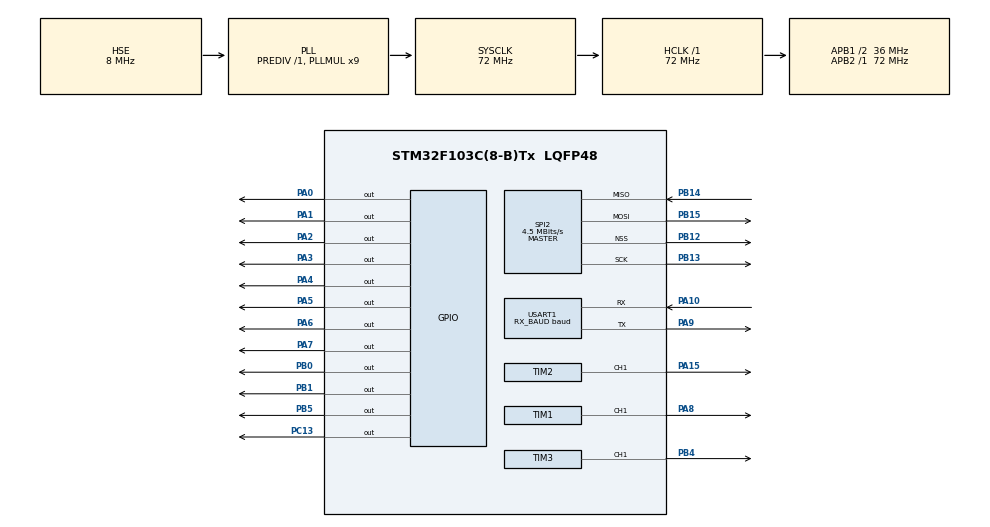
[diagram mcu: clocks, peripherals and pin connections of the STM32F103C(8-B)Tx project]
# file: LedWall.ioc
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Dma.Request0=USART1_RX
Dma.Request1=USART1_TX
Dma.Request2=TIM1_CH1
Dma.TIM1_CH1.2.Direction=DMA_MEMORY_TO_PERIPH
Dma.TIM1_CH1.2.Instance=DMA1_Channel2
Dma.TIM1_CH1.2.MemDataAlignment=DMA_MDATAALIGN_BYTE
Dma.TIM1_CH1.2.MemInc=DMA_MINC_ENABLE
Dma.TIM1_CH1.2.Mode=DMA_NORMAL
Dma.TIM1_CH1.2.PeriphDataAlignment=DMA_PDATAALIGN_BYTE
Dma.TIM1_CH1.2.PeriphInc=DMA_PINC_DISABLE
Dma.TIM1_CH1.2.Priority=DMA_PRIORITY_VERY_HIGH
Dma.USART1_RX.0.Direction=DMA_PERIPH_TO_MEMORY
Dma.USART1_RX.0.Instance=DMA1_Channel5
Dma.USART1_RX.0.MemDataAlignment=DMA_MDATAALIGN_BYTE
Dma.USART1_RX.0.MemInc=DMA_MINC_ENABLE
Dma.USART1_RX.0.Mode=DMA_CIRCULAR
Dma.USART1_RX.0.PeriphDataAlignment=DMA_PDATAALIGN_BYTE
Dma.USART1_RX.0.PeriphInc=DMA_PINC_DISABLE
Dma.USART1_RX.0.Priority=DMA_PRIORITY_LOW
Dma.USART1_TX.1.Direction=DMA_MEMORY_TO_PERIPH
Dma.USART1_TX.1.Instance=DMA1_Channel4
Dma.USART1_TX.1.MemDataAlignment=DMA_MDATAALIGN_BYTE
Dma.USART1_TX.1.MemInc=DMA_MINC_ENABLE
Dma.USART1_TX.1.Mode=DMA_NORMAL
Dma.USART1_TX.1.PeriphDataAlignment=DMA_PDATAALIGN_BYTE
Dma.USART1_TX.1.PeriphInc=DMA_PINC_DISABLE
Dma.USART1_TX.1.Priority=DMA_PRIORITY_LOW
Mcu.Family=STM32F1
Mcu.Name=STM32F103C(8-B)Tx
Mcu.Package=LQFP48
NVIC.DMA1_Channel2_IRQn=true\:0\:0\:false\:false\:true\:false
NVIC.DMA1_Channel4_IRQn=true\:0\:0\:false\:false\:true\:false
NVIC.DMA1_Channel5_IRQn=true\:0\:0\:false\:false\:true\:false
NVIC.PriorityGroup=NVIC_PRIORITYGROUP_4
NVIC.TIM1_UP_IRQn=true\:1\:0\:true\:false\:true\:true
NVIC.TIM2_IRQn=true\:0\:0\:false\:false\:true\:true
PA0-WKUP.GPIO_PuPd=GPIO_PULLDOWN
PA0-WKUP.GPIO_Speed=GPIO_SPEED_FREQ_HIGH
PA0-WKUP.Signal=GPIO_Output
PA1.GPIO_PuPd=GPIO_PULLDOWN
PA1.GPIO_Speed=GPIO_SPEED_FREQ_HIGH
PA1.Signal=GPIO_Output
PA10.Mode=Asynchronous
PA10.Signal=USART1_RX
PA13.Mode=Serial_Wire
PA13.Signal=SYS_JTMS-SWDIO
PA14.Mode=Serial_Wire
PA14.Signal=SYS_JTCK-SWCLK
PA15.GPIO_Speed=GPIO_SPEED_FREQ_HIGH
PA15.Signal=S_TIM2_CH1_ETR
PA2.GPIO_PuPd=GPIO_PULLDOWN
PA2.GPIO_Speed=GPIO_SPEED_FREQ_HIGH
PA2.Signal=GPIO_Output
PA3.GPIO_PuPd=GPIO_PULLDOWN
PA3.GPIO_Speed=GPIO_SPEED_FREQ_HIGH
PA3.Signal=GPIO_Output
PA4.GPIO_PuPd=GPIO_PULLDOWN
PA4.GPIO_Speed=GPIO_SPEED_FREQ_HIGH
PA4.Signal=GPIO_Output
PA5.GPIO_PuPd=GPIO_PULLDOWN
PA5.GPIO_Speed=GPIO_SPEED_FREQ_HIGH
PA5.Signal=GPIO_Output
PA6.GPIO_PuPd=GPIO_PULLDOWN
PA6.GPIO_Speed=GPIO_SPEED_FREQ_HIGH
PA6.Signal=GPIO_Output
PA7.GPIO_PuPd=GPIO_PULLDOWN
PA7.GPIO_Speed=GPIO_SPEED_FREQ_HIGH
PA7.Signal=GPIO_Output
PA8.GPIO_Speed=GPIO_SPEED_FREQ_HIGH
PA8.Signal=S_TIM1_CH1
PA9.Mode=Asynchronous
PA9.Signal=USART1_TX
PB0.Signal=GPIO_Output
PB1.Signal=GPIO_Output
PB12.Mode=NSS_Signal_Hard_Output
PB12.Signal=SPI2_NSS
PB13.Mode=Full_Duplex_Master
PB13.Signal=SPI2_SCK
PB14.Mode=Full_Duplex_Master
PB14.Signal=SPI2_MISO
PB15.Mode=Full_Duplex_Master
PB15.Signal=SPI2_MOSI
PB4.GPIO_Speed=GPIO_SPEED_FREQ_MEDIUM
PB4.Signal=S_TIM3_CH1
PB5.GPIO_PuPd=GPIO_PULLDOWN
PB5.Signal=GPIO_Output
PC13-TAMPER-RTC.Signal=GPIO_Output
PD0-OSC_IN.Mode=HSE-External-Oscillator
PD0-OSC_IN.Signal=RCC_OSC_IN
PD1-OSC_OUT.Mode=HSE-External-Oscillator
PD1-OSC_OUT.Signal=RCC_OSC_OUT
ProjectManager.HeapSize=0x200
ProjectManager.StackSize=0x400
ProjectManager.TargetToolchain=Makefile
RCC.AHBFreq_Value=72000000
RCC.APB1CLKDivider=RCC_HCLK_DIV2
RCC.APB1Freq_Value=36000000
RCC.APB1TimFreq_Value=72000000
RCC.APB2Freq_Value=72000000
RCC.APB2TimFreq_Value=72000000
RCC.HCLKFreq_Value=72000000
RCC.PLLMUL=RCC_PLL_MUL9
RCC.PLLSourceVirtual=RCC_PLLSOURCE_HSE
RCC.SYSCLKFreq_VALUE=72000000
RCC.SYSCLKSource=RCC_SYSCLKSOURCE_PLLCLK
RCC.USBFreq_Value=48000000
RCC.USBPrescaler=RCC_USBCLKSOURCE_PLL_DIV1_5
SH.S_TIM1_CH1.0=TIM1_CH1,PWM Generation1 CH1
SH.S_TIM2_CH1_ETR.0=TIM2_CH1,PWM Generation1 CH1
SH.S_TIM3_CH1.0=TIM3_CH1,PWM Generation1 CH1
SPI2.BaudRatePrescaler=SPI_BAUDRATEPRESCALER_8
SPI2.CalculateBaudRate=4.5 MBits/s
SPI2.Direction=SPI_DIRECTION_2LINES
SPI2.Mode=SPI_MODE_MASTER
SPI2.VirtualNSS=VM_NSSHARD
SPI2.VirtualType=VM_MASTER
TIM1.AutoReloadPreload=TIM_AUTORELOAD_PRELOAD_DISABLE
TIM1.Channel-PWM\ Generation1\ CH1=TIM_CHANNEL_1
TIM1.Period=1
TIM1.Prescaler=(MIN_PWM_PRESCALER - 1)
TIM1.Pulse-PWM\ Generation1\ CH1=1
TIM1.RepetitionCounter=((NUM_PIXELS / 2 ) - 1)
TIM1.TIM_MasterOutputTrigger=TIM_TRGO_ENABLE
TIM1.TIM_MasterSlaveMode=TIM_MASTERSLAVEMODE_ENABLE
TIM2.Channel-PWM\ Generation1\ CH1=TIM_CHANNEL_1
TIM2.OCMode_PWM-PWM\ Generation1\ CH1=TIM_OCMODE_PWM1
TIM2.OCPolarity_1=TIM_OCPOLARITY_HIGH
TIM2.Period=(NUM_PIXELS - 1)
TIM2.Prescaler=(MIN_PWM_PRESCALER - 1)
TIM2.Pulse-PWM\ Generation1\ CH1=1
TIM2.TIM_MasterSlaveMode=TIM_MASTERSLAVEMODE_ENABLE
TIM3.Channel-PWM\ Generation1\ CH1=TIM_CHANNEL_1
TIM3.OCPolarity_1=TIM_OCPOLARITY_LOW
TIM3.Period=255
TIM3.Pulse-PWM\ Generation1\ CH1=0
USART1.BaudRate=RX_BAUD
USART1.VirtualMode=VM_ASYNC
VP_TIM1_VS_ClockSourceINT.Mode=Internal
VP_TIM1_VS_OPM.Mode=OPM_bit
VP_TIM2_VS_ClockSourceINT.Mode=Internal
VP_TIM2_VS_ClockSourceITR.Mode=TriggerSource_ITR0
VP_TIM2_VS_ControllerModeTrigger.Mode=Trigger Mode
VP_TIM2_VS_OPM.Mode=OPM_bit
VP_TIM3_VS_ClockSourceINT.Mode=Internal
board=custom

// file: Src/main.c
/**
  ******************************************************************************
  * @file           : main.c
  * @brief          : Main program body
  ******************************************************************************
  ** This notice applies to any and all portions of this file
  * that are not between comment pairs USER CODE BEGIN and
  * USER CODE END. Other portions of this file, whether
  * inserted by the user or by software development tools
  * are owned by their respective copyright owners.
  *
  * COPYRIGHT(c) 2019 STMicroelectronics
  *
  * Redistribution and use in source and binary forms, with or without modification,
  * are permitted provided that the following conditions are met:
  *   1. Redistributions of source code must retain the above copyright notice,
  *      this list of conditions and the following disclaimer.
  *   2. Redistributions in binary form must reproduce the above copyright notice,
  *      this list of conditions and the following disclaimer in the documentation
  *      and/or other materials provided with the distribution.
  *   3. Neither the name of STMicroelectronics nor the names of its contributors
  *      may be used to endorse or promote products derived from this software
  *      without specific prior written permission.
  *
  * THIS SOFTWARE IS PROVIDED BY THE COPYRIGHT HOLDERS AND CONTRIBUTORS "AS IS"
  * AND ANY EXPRESS OR IMPLIED WARRANTIES, INCLUDING, BUT NOT LIMITED TO, THE
  * IMPLIED WARRANTIES OF MERCHANTABILITY AND FITNESS FOR A PARTICULAR PURPOSE ARE
  * DISCLAIMED. IN NO EVENT SHALL THE COPYRIGHT HOLDER OR CONTRIBUTORS BE LIABLE
  * FOR ANY DIRECT, INDIRECT, INCIDENTAL, SPECIAL, EXEMPLARY, OR CONSEQUENTIAL
  * DAMAGES (INCLUDING, BUT NOT LIMITED TO, PROCUREMENT OF SUBSTITUTE GOODS OR
  * SERVICES; LOSS OF USE, DATA, OR PROFITS; OR BUSINESS INTERRUPTION) HOWEVER
  * CAUSED AND ON ANY THEORY OF LIABILITY, WHETHER IN CONTRACT, STRICT LIABILITY,
  * OR TORT (INCLUDING NEGLIGENCE OR OTHERWISE) ARISING IN ANY WAY OUT OF THE USE
  * OF THIS SOFTWARE, EVEN IF ADVISED OF THE POSSIBILITY OF SUCH DAMAGE.
  *
  ******************************************************************************
  */
#include "main.h"
#include "stm32f1xx_hal.h"

/* USER CODE BEGIN Includes */

/** ========= TODO: =========
 * OPC protocol
 * Control global brightness over network
 * (?) Change DMA routine to include clock and latch signals, to improve speed further
 * (?) Network bootloader
 * (?) Automatic panel recognition by 2D barcode or something like that
 */

#include <stdio.h>
#include <stdlib.h>
#include <string.h>
#include <stdbool.h>
#include <math.h>
#include "globals.h"

#include "ethernet.h"
#include "uart.h"
#include "display.h"
/* USER CODE END Includes */

SPI_HandleTypeDef hspi2;

TIM_HandleTypeDef htim1;
TIM_HandleTypeDef htim2;
TIM_HandleTypeDef htim3;
DMA_HandleTypeDef hdma_tim1_ch1;

UART_HandleTypeDef huart1;
DMA_HandleTypeDef hdma_usart1_rx;
DMA_HandleTypeDef hdma_usart1_tx;

/* USER CODE BEGIN PV */
/* Private variables ---------------------------------------------------------*/

/* USER CODE END PV */

void SystemClock_Config(void);
static void MX_GPIO_Init(void);
static void MX_DMA_Init(void);
static void MX_USART1_UART_Init(void);
static void MX_TIM3_Init(void);
static void MX_TIM1_Init(void);
static void MX_TIM2_Init(void);
static void MX_SPI2_Init(void);

void HAL_TIM_MspPostInit(TIM_HandleTypeDef *htim);

/* USER CODE BEGIN PFP */
/* Private function prototypes -----------------------------------------------*/

/* USER CODE END PFP */

/* USER CODE BEGIN 0 */

//gamma generation playground: https://ideone.com/4WlJxv
void generateGammaTable() {
  for(int16_t i = 0; i < GAMMA_STEPS; i++) {
    uint16_t maxVal = (1 << PWM_RESOLUTION) - 1;
    float step = (float)i * (float)maxVal / 255.0;
    step = round(step);

    gammaTable[i] = (uint16_t)(pow(step / maxVal, GAMMA_CORRECTION) * maxVal);
  }
}

void setGlobalBrightness(uint8_t brightness) {
  globalBrightness = brightness;
  __HAL_TIM_SET_COMPARE(&PWM_TIMER, PWM_CHANNEL, brightness);
}

void startDMA() {
  HAL_GPIO_WritePin(PIN_LAT, 1);

  uint32_t dmaBufPos = (uint32_t)dmaBuf + (pwmStepIdx * (NUM_PIXELS / 2));

  HAL_GPIO_WritePin(PIN_LAT, 0);

  if(HAL_DMA_GetState(DMA_TIMER.hdma[TIM_DMA_ID_CC1]) == HAL_DMA_STATE_BUSY) {
    HAL_GPIO_TogglePin(PIN_LED);

    // DMA_TIMER.Instance->RCR = DMA_TIMER.hdma[TIM_DMA_ID_CC1]->Instance->CNDTR / 2;

    // if(HAL_TIM_PWM_Start(&DMA_TIMER, DMA_CHANNEL) != HAL_OK) {
    //   _Error_Handler(__FILE__, __LINE__);
    // }

    // return;
  }

  if(HAL_DMA_Start_IT(DMA_TIMER.hdma[TIM_DMA_ID_CC1], dmaBufPos, (uint32_t)&GPIOA->ODR, (NUM_PIXELS / 2)) != HAL_OK) {
    // _Error_Handler(__FILE__, __LINE__);
  }

  uint16_t prescaler = (MIN_PWM_PRESCALER << pwmStepIdx) - 1;
  __HAL_TIM_SET_PRESCALER(&DMA_TIMER, prescaler);
  __HAL_TIM_SET_PRESCALER(&LATCH_TIMER, prescaler);

  if(HAL_TIM_PWM_Start(&DMA_TIMER, DMA_CHANNEL) != HAL_OK) {
    _Error_Handler(__FILE__, __LINE__);
  }
  HAL_TIM_PWM_Start(&LATCH_TIMER, LATCH_CHANNEL);
}

void dataTransmittedHandler(DMA_HandleTypeDef *hdma) {
  //pwmStepIdx = 0;
}

void transmitErrorHandler(DMA_HandleTypeDef *hdma) {
  __HAL_TIM_DISABLE(&DMA_TIMER);
}

void ISR_TIM2() {

}

/* USER CODE END 0 */

int main(void)
{

  /* MCU Configuration----------------------------------------------------------*/

  /* Reset of all peripherals, Initializes the Flash interface and the Systick. */
  HAL_Init();

  /* Configure the system clock */
  SystemClock_Config();

  /* Initialize all configured peripherals */
  MX_GPIO_Init();
  MX_DMA_Init();
  MX_USART1_UART_Init();
  MX_TIM3_Init();
  MX_TIM1_Init();
  MX_TIM2_Init();
  MX_SPI2_Init();
  /* USER CODE BEGIN 2 */

  printf("\nmodLED Matrix Controller starting...\n");

  pwmStepIdx = 0;
  uartRxCounter = 0;

  for (uint32_t i = 0; i < DMA_BUF_LENGTH; i++) {
    dmaBuf[i] = 0;
  }

  clearDisplay();
  dispPrintf(0, 5, WHITE, "INIT");
  dispPrintf(2, 5+6, RED, ".");
  dispPrintf(2+4, 5+6, GREEN, ".");
  dispPrintf(2+8, 5+6, BLUE, ".");

  generateGammaTable();
  setGlobalBrightness(INITAL_BRIGHTNESS);
  //initial framebuffer to DMA buffer mapping
  updateDisplay();

  DMA_TIMER.hdma[TIM_DMA_ID_CC1]->XferCpltCallback = dataTransmittedHandler;
  DMA_TIMER.hdma[TIM_DMA_ID_CC1]->XferErrorCallback = transmitErrorHandler;

  __HAL_TIM_ENABLE_DMA(&DMA_TIMER, TIM_DMA_CC1);
  __HAL_TIM_ENABLE_IT(&DMA_TIMER, TIM_IT_UPDATE);

  startDMA();

  HAL_TIM_PWM_Start(&PWM_TIMER, PWM_CHANNEL);

  HAL_UART_Receive_DMA(&RX_UART, uartBuffer, UART_BUFFER_LENGTH);

  initEthernet();

  // uint8_t pixelPos = 0;

  /* USER CODE END 2 */

  /* Infinite loop */
  while (1) {

  /* USER CODE BEGIN 3 */
    HAL_GPIO_TogglePin(PIN_LED);

    loopEthernet();

    //generate test pattern
    // frameBuf[pixelPos % NUM_PIXELS] = 0;
    // frameBuf[(pixelPos + 1) % NUM_PIXELS] = 0xFFFFFFFF;
    // pixelPos++;
    // HAL_Delay(100);

    // map frame buffer to DMA buffer
    updateDisplay();
  }
  /* USER CODE END 3 */

}

void SystemClock_Config(void)
{

  RCC_OscInitTypeDef RCC_OscInitStruct;
  RCC_ClkInitTypeDef RCC_ClkInitStruct;

    /**Initializes the CPU, AHB and APB busses clocks
    */
  RCC_OscInitStruct.OscillatorType = RCC_OSCILLATORTYPE_HSE;
  RCC_OscInitStruct.HSEState = RCC_HSE_ON;
  RCC_OscInitStruct.HSEPredivValue = RCC_HSE_PREDIV_DIV1;
  RCC_OscInitStruct.HSIState = RCC_HSI_ON;
  RCC_OscInitStruct.PLL.PLLState = RCC_PLL_ON;
  RCC_OscInitStruct.PLL.PLLSource = RCC_PLLSOURCE_HSE;
  RCC_OscInitStruct.PLL.PLLMUL = RCC_PLL_MUL9;
  if (HAL_RCC_OscConfig(&RCC_OscInitStruct) != HAL_OK)
  {
    _Error_Handler(__FILE__, __LINE__);
  }

    /**Initializes the CPU, AHB and APB busses clocks
    */
  RCC_ClkInitStruct.ClockType = RCC_CLOCKTYPE_HCLK|RCC_CLOCKTYPE_SYSCLK
                              |RCC_CLOCKTYPE_PCLK1|RCC_CLOCKTYPE_PCLK2;
  RCC_ClkInitStruct.SYSCLKSource = RCC_SYSCLKSOURCE_PLLCLK;
  RCC_ClkInitStruct.AHBCLKDivider = RCC_SYSCLK_DIV1;
  RCC_ClkInitStruct.APB1CLKDivider = RCC_HCLK_DIV2;
  RCC_ClkInitStruct.APB2CLKDivider = RCC_HCLK_DIV1;

  if (HAL_RCC_ClockConfig(&RCC_ClkInitStruct, FLASH_LATENCY_2) != HAL_OK)
  {
    _Error_Handler(__FILE__, __LINE__);
  }

    /**Configure the Systick interrupt time
    */
  HAL_SYSTICK_Config(HAL_RCC_GetHCLKFreq()/1000);

    /**Configure the Systick
    */
  HAL_SYSTICK_CLKSourceConfig(SYSTICK_CLKSOURCE_HCLK);

  /* SysTick_IRQn interrupt configuration */
  HAL_NVIC_SetPriority(SysTick_IRQn, 0, 0);
}

/* SPI2 init function */
static void MX_SPI2_Init(void)
{

  /* SPI2 parameter configuration*/
  hspi2.Instance = SPI2;
  hspi2.Init.Mode = SPI_MODE_MASTER;
  hspi2.Init.Direction = SPI_DIRECTION_2LINES;
  hspi2.Init.DataSize = SPI_DATASIZE_8BIT;
  hspi2.Init.CLKPolarity = SPI_POLARITY_LOW;
  hspi2.Init.CLKPhase = SPI_PHASE_1EDGE;
  hspi2.Init.NSS = SPI_NSS_HARD_OUTPUT;
  hspi2.Init.BaudRatePrescaler = SPI_BAUDRATEPRESCALER_8;
  hspi2.Init.FirstBit = SPI_FIRSTBIT_MSB;
  hspi2.Init.TIMode = SPI_TIMODE_DISABLE;
  hspi2.Init.CRCCalculation = SPI_CRCCALCULATION_DISABLE;
  hspi2.Init.CRCPolynomial = 10;
  if (HAL_SPI_Init(&hspi2) != HAL_OK)
  {
    _Error_Handler(__FILE__, __LINE__);
  }

}

/* TIM1 init function */
static void MX_TIM1_Init(void)
{

  TIM_ClockConfigTypeDef sClockSourceConfig;
  TIM_MasterConfigTypeDef sMasterConfig;
  TIM_OC_InitTypeDef sConfigOC;
  TIM_BreakDeadTimeConfigTypeDef sBreakDeadTimeConfig;

  htim1.Instance = TIM1;
  htim1.Init.Prescaler = (MIN_PWM_PRESCALER - 1);
  htim1.Init.CounterMode = TIM_COUNTERMODE_UP;
  htim1.Init.Period = 1;
  htim1.Init.ClockDivision = TIM_CLOCKDIVISION_DIV1;
  htim1.Init.RepetitionCounter = ((NUM_PIXELS / 2 ) - 1);
  htim1.Init.AutoReloadPreload = TIM_AUTORELOAD_PRELOAD_DISABLE;
  if (HAL_TIM_Base_Init(&htim1) != HAL_OK)
  {
    _Error_Handler(__FILE__, __LINE__);
  }

  sClockSourceConfig.ClockSource = TIM_CLOCKSOURCE_INTERNAL;
  if (HAL_TIM_ConfigClockSource(&htim1, &sClockSourceConfig) != HAL_OK)
  {
    _Error_Handler(__FILE__, __LINE__);
  }

  if (HAL_TIM_PWM_Init(&htim1) != HAL_OK)
  {
    _Error_Handler(__FILE__, __LINE__);
  }

  if (HAL_TIM_OnePulse_Init(&htim1, TIM_OPMODE_SINGLE) != HAL_OK)
  {
    _Error_Handler(__FILE__, __LINE__);
  }

  sMasterConfig.MasterOutputTrigger = TIM_TRGO_ENABLE;
  sMasterConfig.MasterSlaveMode = TIM_MASTERSLAVEMODE_ENABLE;
  if (HAL_TIMEx_MasterConfigSynchronization(&htim1, &sMasterConfig) != HAL_OK)
  {
    _Error_Handler(__FILE__, __LINE__);
  }

  sConfigOC.OCMode = TIM_OCMODE_PWM1;
  sConfigOC.Pulse = 1;
  sConfigOC.OCPolarity = TIM_OCPOLARITY_HIGH;
  sConfigOC.OCNPolarity = TIM_OCNPOLARITY_HIGH;
  sConfigOC.OCFastMode = TIM_OCFAST_DISABLE;
  sConfigOC.OCIdleState = TIM_OCIDLESTATE_RESET;
  sConfigOC.OCNIdleState = TIM_OCNIDLESTATE_RESET;
  if (HAL_TIM_PWM_ConfigChannel(&htim1, &sConfigOC, TIM_CHANNEL_1) != HAL_OK)
  {
    _Error_Handler(__FILE__, __LINE__);
  }

  sBreakDeadTimeConfig.OffStateRunMode = TIM_OSSR_DISABLE;
  sBreakDeadTimeConfig.OffStateIDLEMode = TIM_OSSI_DISABLE;
  sBreakDeadTimeConfig.LockLevel = TIM_LOCKLEVEL_OFF;
  sBreakDeadTimeConfig.DeadTime = 0;
  sBreakDeadTimeConfig.BreakState = TIM_BREAK_DISABLE;
  sBreakDeadTimeConfig.BreakPolarity = TIM_BREAKPOLARITY_HIGH;
  sBreakDeadTimeConfig.AutomaticOutput = TIM_AUTOMATICOUTPUT_DISABLE;
  if (HAL_TIMEx_ConfigBreakDeadTime(&htim1, &sBreakDeadTimeConfig) != HAL_OK)
  {
    _Error_Handler(__FILE__, __LINE__);
  }

  HAL_TIM_MspPostInit(&htim1);

}

/* TIM2 init function */
static void MX_TIM2_Init(void)
{

  TIM_ClockConfigTypeDef sClockSourceConfig;
  TIM_SlaveConfigTypeDef sSlaveConfig;
  TIM_MasterConfigTypeDef sMasterConfig;
  TIM_OC_InitTypeDef sConfigOC;

  htim2.Instance = TIM2;
  htim2.Init.Prescaler = (MIN_PWM_PRESCALER - 1);
  htim2.Init.CounterMode = TIM_COUNTERMODE_UP;
  htim2.Init.Period = (NUM_PIXELS - 1);
  htim2.Init.ClockDivision = TIM_CLOCKDIVISION_DIV1;
  htim2.Init.AutoReloadPreload = TIM_AUTORELOAD_PRELOAD_DISABLE;
  if (HAL_TIM_Base_Init(&htim2) != HAL_OK)
  {
    _Error_Handler(__FILE__, __LINE__);
  }

  sClockSourceConfig.ClockSource = TIM_CLOCKSOURCE_INTERNAL;
  if (HAL_TIM_ConfigClockSource(&htim2, &sClockSourceConfig) != HAL_OK)
  {
    _Error_Handler(__FILE__, __LINE__);
  }

  if (HAL_TIM_PWM_Init(&htim2) != HAL_OK)
  {
    _Error_Handler(__FILE__, __LINE__);
  }

  if (HAL_TIM_OnePulse_Init(&htim2, TIM_OPMODE_SINGLE) != HAL_OK)
  {
    _Error_Handler(__FILE__, __LINE__);
  }

  sSlaveConfig.SlaveMode = TIM_SLAVEMODE_TRIGGER;
  sSlaveConfig.InputTrigger = TIM_TS_ITR0;
  if (HAL_TIM_SlaveConfigSynchronization(&htim2, &sSlaveConfig) != HAL_OK)
  {
    _Error_Handler(__FILE__, __LINE__);
  }

  sMasterConfig.MasterOutputTrigger = TIM_TRGO_RESET;
  sMasterConfig.MasterSlaveMode = TIM_MASTERSLAVEMODE_ENABLE;
  if (HAL_TIMEx_MasterConfigSynchronization(&htim2, &sMasterConfig) != HAL_OK)
  {
    _Error_Handler(__FILE__, __LINE__);
  }

  sConfigOC.OCMode = TIM_OCMODE_PWM1;
  sConfigOC.Pulse = 1;
  sConfigOC.OCPolarity = TIM_OCPOLARITY_HIGH;
  sConfigOC.OCFastMode = TIM_OCFAST_DISABLE;
  if (HAL_TIM_PWM_ConfigChannel(&htim2, &sConfigOC, TIM_CHANNEL_1) != HAL_OK)
  {
    _Error_Handler(__FILE__, __LINE__);
  }

  HAL_TIM_MspPostInit(&htim2);

}

/* TIM3 init function */
static void MX_TIM3_Init(void)
{

  TIM_ClockConfigTypeDef sClockSourceConfig;
  TIM_MasterConfigTypeDef sMasterConfig;
  TIM_OC_InitTypeDef sConfigOC;

  htim3.Instance = TIM3;
  htim3.Init.Prescaler = 0;
  htim3.Init.CounterMode = TIM_COUNTERMODE_UP;
  htim3.Init.Period = 255;
  htim3.Init.ClockDivision = TIM_CLOCKDIVISION_DIV1;
  htim3.Init.AutoReloadPreload = TIM_AUTORELOAD_PRELOAD_DISABLE;
  if (HAL_TIM_Base_Init(&htim3) != HAL_OK)
  {
    _Error_Handler(__FILE__, __LINE__);
  }

  sClockSourceConfig.ClockSource = TIM_CLOCKSOURCE_INTERNAL;
  if (HAL_TIM_ConfigClockSource(&htim3, &sClockSourceConfig) != HAL_OK)
  {
    _Error_Handler(__FILE__, __LINE__);
  }

  if (HAL_TIM_PWM_Init(&htim3) != HAL_OK)
  {
    _Error_Handler(__FILE__, __LINE__);
  }

  sMasterConfig.MasterOutputTrigger = TIM_TRGO_RESET;
  sMasterConfig.MasterSlaveMode = TIM_MASTERSLAVEMODE_DISABLE;
  if (HAL_TIMEx_MasterConfigSynchronization(&htim3, &sMasterConfig) != HAL_OK)
  {
    _Error_Handler(__FILE__, __LINE__);
  }

  sConfigOC.OCMode = TIM_OCMODE_PWM1;
  sConfigOC.Pulse = 0;
  sConfigOC.OCPolarity = TIM_OCPOLARITY_LOW;
  sConfigOC.OCFastMode = TIM_OCFAST_DISABLE;
  if (HAL_TIM_PWM_ConfigChannel(&htim3, &sConfigOC, TIM_CHANNEL_1) != HAL_OK)
  {
    _Error_Handler(__FILE__, __LINE__);
  }

  HAL_TIM_MspPostInit(&htim3);

}

/* USART1 init function */
static void MX_USART1_UART_Init(void)
{

  huart1.Instance = USART1;
  huart1.Init.BaudRate = RX_BAUD;
  huart1.Init.WordLength = UART_WORDLENGTH_8B;
  huart1.Init.StopBits = UART_STOPBITS_1;
  huart1.Init.Parity = UART_PARITY_NONE;
  huart1.Init.Mode = UART_MODE_TX_RX;
  huart1.Init.HwFlowCtl = UART_HWCONTROL_NONE;
  huart1.Init.OverSampling = UART_OVERSAMPLING_16;
  if (HAL_UART_Init(&huart1) != HAL_OK)
  {
    _Error_Handler(__FILE__, __LINE__);
  }

}

static void MX_DMA_Init(void)
{
  /* DMA controller clock enable */
  __HAL_RCC_DMA1_CLK_ENABLE();

  /* DMA interrupt init */
  /* DMA1_Channel2_IRQn interrupt configuration */
  HAL_NVIC_SetPriority(DMA1_Channel2_IRQn, 0, 0);
  HAL_NVIC_EnableIRQ(DMA1_Channel2_IRQn);
  /* DMA1_Channel4_IRQn interrupt configuration */
  HAL_NVIC_SetPriority(DMA1_Channel4_IRQn, 0, 0);
  HAL_NVIC_EnableIRQ(DMA1_Channel4_IRQn);
  /* DMA1_Channel5_IRQn interrupt configuration */
  HAL_NVIC_SetPriority(DMA1_Channel5_IRQn, 0, 0);
  HAL_NVIC_EnableIRQ(DMA1_Channel5_IRQn);

}

/** Configure pins as
        * Analog
        * Input
        * Output
        * EVENT_OUT
        * EXTI
*/
static void MX_GPIO_Init(void)
{

  GPIO_InitTypeDef GPIO_InitStruct;

  /* GPIO Ports Clock Enable */
  __HAL_RCC_GPIOC_CLK_ENABLE();
  __HAL_RCC_GPIOD_CLK_ENABLE();
  __HAL_RCC_GPIOA_CLK_ENABLE();
  __HAL_RCC_GPIOB_CLK_ENABLE();

  /*Configure GPIO pin Output Level */
  HAL_GPIO_WritePin(GPIOC, GPIO_PIN_13, GPIO_PIN_RESET);

  /*Configure GPIO pin Output Level */
  HAL_GPIO_WritePin(GPIOA, GPIO_PIN_0|GPIO_PIN_1|GPIO_PIN_2|GPIO_PIN_3
                          |GPIO_PIN_4|GPIO_PIN_5|GPIO_PIN_6|GPIO_PIN_7, GPIO_PIN_RESET);

  /*Configure GPIO pin Output Level */
  HAL_GPIO_WritePin(GPIOB, GPIO_PIN_0|GPIO_PIN_1|GPIO_PIN_5, GPIO_PIN_RESET);

  /*Configure GPIO pin : PC13 */
  GPIO_InitStruct.Pin = GPIO_PIN_13;
  GPIO_InitStruct.Mode = GPIO_MODE_OUTPUT_PP;
  GPIO_InitStruct.Pull = GPIO_NOPULL;
  GPIO_InitStruct.Speed = GPIO_SPEED_FREQ_LOW;
  HAL_GPIO_Init(GPIOC, &GPIO_InitStruct);

  /*Configure GPIO pins : PA0 PA1 PA2 PA3
                           PA4 PA5 PA6 PA7 */
  GPIO_InitStruct.Pin = GPIO_PIN_0|GPIO_PIN_1|GPIO_PIN_2|GPIO_PIN_3
                          |GPIO_PIN_4|GPIO_PIN_5|GPIO_PIN_6|GPIO_PIN_7;
  GPIO_InitStruct.Mode = GPIO_MODE_OUTPUT_PP;
  GPIO_InitStruct.Pull = GPIO_PULLDOWN;
  GPIO_InitStruct.Speed = GPIO_SPEED_FREQ_HIGH;
  HAL_GPIO_Init(GPIOA, &GPIO_InitStruct);

  /*Configure GPIO pins : PB0 PB1 */
  GPIO_InitStruct.Pin = GPIO_PIN_0|GPIO_PIN_1;
  GPIO_InitStruct.Mode = GPIO_MODE_OUTPUT_PP;
  GPIO_InitStruct.Pull = GPIO_NOPULL;
  GPIO_InitStruct.Speed = GPIO_SPEED_FREQ_LOW;
  HAL_GPIO_Init(GPIOB, &GPIO_InitStruct);

  /*Configure GPIO pin : PB5 */
  GPIO_InitStruct.Pin = GPIO_PIN_5;
  GPIO_InitStruct.Mode = GPIO_MODE_OUTPUT_PP;
  GPIO_InitStruct.Pull = GPIO_PULLDOWN;
  GPIO_InitStruct.Speed = GPIO_SPEED_FREQ_LOW;
  HAL_GPIO_Init(GPIOB, &GPIO_InitStruct);

}

void _Error_Handler(char *file, int line)
{
  /* USER CODE BEGIN Error_Handler_Debug */
    /* User can add his own implementation to report the HAL error return state */
    printf("ERROR: ran into error in file %s:%d", file, line);
    while(1)
    {
      HAL_GPIO_TogglePin(PIN_LED);
    }
  /* USER CODE END Error_Handler_Debug */
}

/************************ (C) COPYRIGHT STMicroelectronics *****END OF FILE****/
